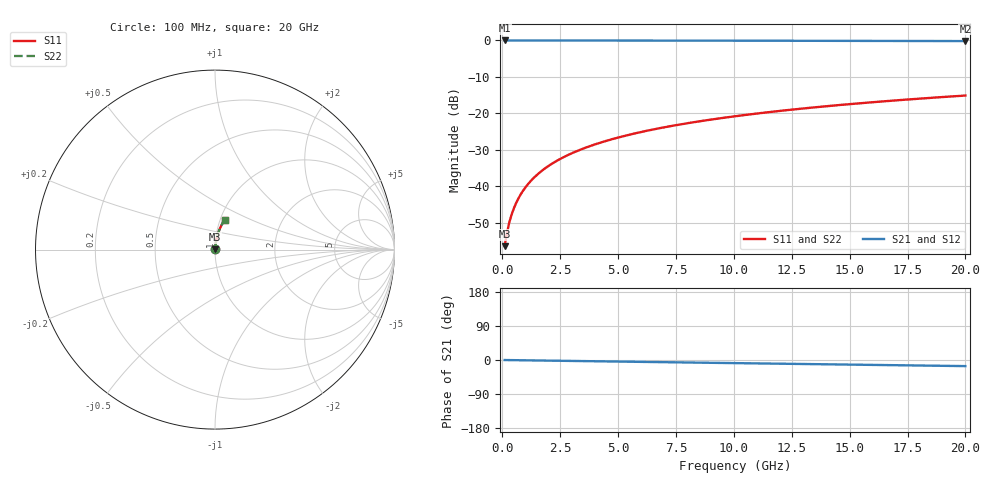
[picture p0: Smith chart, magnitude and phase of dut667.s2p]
! Touchstone file exported from HFSS 2026.1.0
!  File:  C:/ffzhzh/LocalFiles/Ansys_Project_Files/temp_train_TMRDL_667_1783009852_4048.aedt
!  Generated:  12:32:33 AM Jul  3, 2026
!  Design:  TMRDL
!  Project:  temp_train_TMRDL_667_1783009852_4048
! Variables:
!  h_bsmrdl = 2um
!  h_ox = 20um
!  h_rdl = 5um
!  h_sub = 80um
!  h_tmrdl = 5.98um
!  h_tsv = 80um
!  h_via = 3um
!  l_bsmrdl = 300um
!  l_sub = 604.93um
!  l_tmrdl = 204.93um
!  m_sub = 200um
!  pitch = 37.16um
!  r_tsv = 6um
!  s_tmrdl = 10um
!  w_bsmrdl = 18um
!  w_sub = 500um
!  w_tmrdl = 11.71um
!  x_tsv_center1 = 210.785um
!  x_tsv_center2 = 528.785um
!  x_tsv_center3 = 745.425um
!  x_tsv_center4 = 1063.425um
!  x_tsv_center5 = 1280.065um
!  x_tsv_center6 = 1598.065um
# GHz S MA R 50.000000
! Terminal data exported
! Port[1] = TM_RDL1_1_T1
! Port[2] = TM_RDL1_1_T2
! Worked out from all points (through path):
!   200 points, 100 MHz to 20 GHz, reference 50 ohm
!   highest |S21| = -0.01 dB at 100 MHz (marker M1); lowest = -0.2 dB at 20 GHz (marker M2)
!   group delay of S21, straight-line fit = 2.23 ps
!   lowest |S11| = -56.5 dB at 100 MHz (marker M3), VSWR 1.00, Z = 50.1 + j0.099 ohm
!   |S11| at or under -10 dB: start of sweep to end of sweep
!   |S22| runs from -56.5 to -15.1 dB; largest |S21 - S12| = 3e-15
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0.1  0.001496 41.3  0.9989 -0.1  0.9989 -0.1  0.001496 41.3
! Gamma 0 0 0 0
! Port Impedance 50 0 50 0
0.2  0.002275 59.4  0.9988 -0.2  0.9988 -0.2  0.002275 59.4
0.3  0.003146 67.6  0.9988 -0.3  0.9988 -0.3  0.003146 67.6
0.4  0.004045 72.3  0.9988 -0.3  0.9988 -0.3  0.004045 72.3
0.5  0.004958 75.2  0.9988 -0.4  0.9988 -0.4  0.004958 75.2
0.6  0.005879 77.2  0.9987 -0.5  0.9987 -0.5  0.005879 77.2
0.8  0.007735 79.8  0.9987 -0.7  0.9987 -0.7  0.007735 79.8
1.1  0.01054 81.8  0.9986 -0.9  0.9986 -0.9  0.01054 81.8
1.5  0.01428 83.0  0.9985 -1.3  0.9985 -1.3  0.01428 83.0
1.8  0.01708 83.5  0.9983 -1.5  0.9983 -1.5  0.01708 83.5
2.1  0.01988 83.7  0.9982 -1.8  0.9982 -1.8  0.01988 83.7
2.7  0.02544 83.8  0.9979 -2.3  0.9979 -2.3  0.02544 83.8
3.5  0.03279 83.5  0.9974 -2.9  0.9974 -2.9  0.03279 83.5
4.2  0.03916 83.2  0.997 -3.5  0.997 -3.5  0.03916 83.2
5  0.04637 82.7  0.9964 -4.2  0.9964 -4.2  0.04637 82.7
5.9  0.05443 82.1  0.9957 -4.9  0.9957 -4.9  0.05443 82.1
6.8  0.06242 81.6  0.995 -5.6  0.995 -5.6  0.06242 81.5
8.3  0.07565 80.5  0.9937 -6.8  0.9937 -6.8  0.07565 80.5
10.1  0.09137 79.3  0.992 -8.3  0.992 -8.3  0.09137 79.3
13.4  0.1198 77.0  0.9884 -10.9  0.9884 -10.9  0.1198 77.0
16.7  0.1477 74.5  0.9841 -13.5  0.9841 -13.5  0.1477 74.5
20  0.175 72.1  0.9792 -16.1  0.9792 -16.1  0.175 72.1
